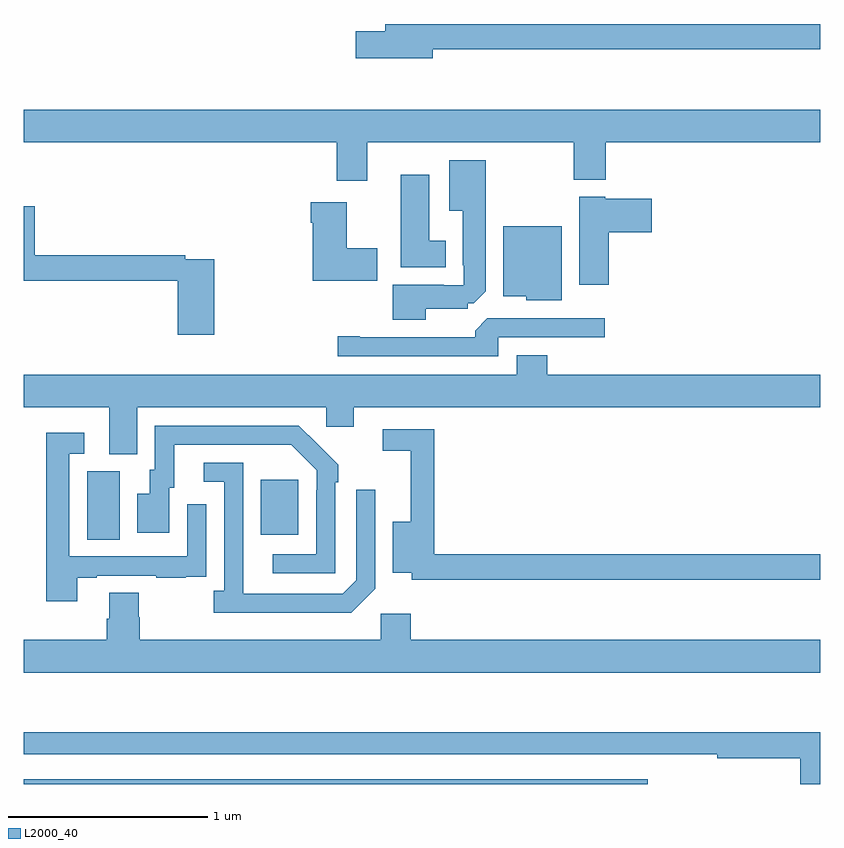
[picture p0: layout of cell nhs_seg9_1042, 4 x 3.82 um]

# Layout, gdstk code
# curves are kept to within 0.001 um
import gdstk
lib = gdstk.Library(unit=1e-6, precision=1e-09)
def R(c, l, rs):  # rectangles x0, y0, x1, y1
    for r in rs: c.add(gdstk.rectangle(r[:2], r[2:], *l))
def P(c, l, *ps):  # polygons
    for p in ps: c.add(gdstk.Polygon(p, *l))
L2000_40 = (2000, 40)

nhs_seg9_1042 = lib.new_cell('nhs_seg9_1042')
R(nhs_seg9_1042, L2000_40, [(167,1222.5,170.134,1222.524), (167.318,1223.728,167.482,1224.072), (168.191,1223.753,168.379,1224.028)])
P(nhs_seg9_1042, L2000_40, [(169.054,1226.19),(171,1226.19),(171,1226.318),(168.815,1226.318),(168.815,1226.282),(168.666,1226.282),(168.666,1226.147),(169.054,1226.147)],
  [(168.724,1225.724),(169.762,1225.724),(169.762,1225.535),(169.922,1225.535),(169.922,1225.724),(171,1225.724),(171,1225.888),(167,1225.888),(167,1225.724),(168.572,1225.724),(168.572,1225.53),(168.724,1225.53)],
  [(169.018,1224.887),(169.23,1224.887),(169.23,1224.915),(169.261,1224.915),(169.321,1224.975),(169.321,1225.633),(169.136,1225.633),(169.136,1225.379),(169.205,1225.379),(169.205,1225.105),(169.209,1225.105),(169.209,1225.005),(169.109,1225.005),(169.109,1225.009),(168.854,1225.009),(168.854,1224.833),(169.018,1224.833)],
  [(169.12,1225.228),(169.036,1225.228),(169.036,1225.561),(168.893,1225.561),(168.893,1225.097),(169.12,1225.097)],
  [(169.937,1225.271),(170.155,1225.271),(170.155,1225.441),(169.92,1225.441),(169.92,1225.45),(169.79,1225.45),(169.79,1225.008),(169.937,1225.008)],
  [(168.775,1225.191),(168.622,1225.191),(168.622,1225.423),(168.44,1225.423),(168.44,1225.319),(168.452,1225.319),(168.452,1225.028),(168.775,1225.028)],
  [(167.957,1225.137),(167.81,1225.137),(167.81,1225.157),(167.054,1225.157),(167.054,1225.402),(167,1225.402),(167,1225.028),(167.037,1225.028),(167.037,1225.029),(167.774,1225.029),(167.774,1224.756),(167.957,1224.756)],
  [(169.702,1225.303),(169.409,1225.303),(169.409,1224.95),(169.524,1224.95),(169.524,1224.929),(169.702,1224.929)],
  [(169.383,1224.744),(169.918,1224.744),(169.918,1224.84),(169.329,1224.84),(169.268,1224.778),(169.268,1224.744),(168.688,1224.744),(168.688,1224.749),(168.576,1224.749),(168.576,1224.648),(169.383,1224.648)],
  [(167.569,1224.392),(168.519,1224.392),(168.519,1224.294),(168.658,1224.294),(168.658,1224.392),(171,1224.392),(171,1224.556),(169.628,1224.556),(169.628,1224.655),(169.475,1224.655),(169.475,1224.556),(167,1224.556),(167,1224.392),(167.429,1224.392),(167.429,1224.157),(167.569,1224.157)],
  [(168.564,1224.017),(168.579,1224.017),(168.579,1224.105),(168.382,1224.3),(167.658,1224.3),(167.658,1224.078),(167.633,1224.078),(167.633,1223.959),(167.57,1223.959),(167.57,1223.763),(167.731,1223.763),(167.731,1223.988),(167.755,1223.988),(167.755,1224.204),(168.343,1224.204),(168.471,1224.075),(168.471,1223.975),(168.468,1223.975),(168.468,1223.655),(168.249,1223.655),(168.249,1223.559),(168.564,1223.559)],
  [(171,1223.654),(169.061,1223.654),(169.061,1224.282),(168.804,1224.282),(168.804,1224.174),(168.944,1224.174),(168.944,1223.818),(168.854,1223.818),(168.854,1223.561),(168.948,1223.561),(168.948,1223.526),(171,1223.526)],
  [(167.269,1223.535),(167.365,1223.535),(167.365,1223.547),(167.665,1223.547),(167.665,1223.535),(167.813,1223.535),(167.813,1223.541),(167.915,1223.541),(167.915,1223.65),(167.916,1223.65),(167.916,1223.905),(167.82,1223.905),(167.82,1223.643),(167.229,1223.643),(167.229,1224.159),(167.302,1224.159),(167.302,1224.265),(167.113,1224.265),(167.113,1223.418),(167.269,1223.418)],
  [(168.765,1223.481),(168.765,1223.977),(168.669,1223.977),(168.669,1223.523),(168.603,1223.457),(168.103,1223.457),(168.102,1224.114),(167.904,1224.114),(167.904,1224.018),(168.006,1224.018),(168.006,1223.47),(167.955,1223.47),(167.955,1223.36),(168.644,1223.36)],
  [(171,1223.224),(168.944,1223.224),(168.944,1223.356),(168.792,1223.356),(168.792,1223.224),(167.582,1223.224),(167.582,1223.337),(167.577,1223.337),(167.577,1223.462),(167.429,1223.462),(167.429,1223.33),(167.417,1223.33),(167.417,1223.224),(167,1223.224),(167,1223.06),(171,1223.06)],
  [(171,1222.759),(167,1222.759),(167,1222.65),(170.23,1222.65),(170.23,1222.649),(170.482,1222.649),(170.482,1222.63),(170.9,1222.63),(170.9,1222.5),(171,1222.5)])

lib.write_gds('nhs_seg9_1042.gds')
